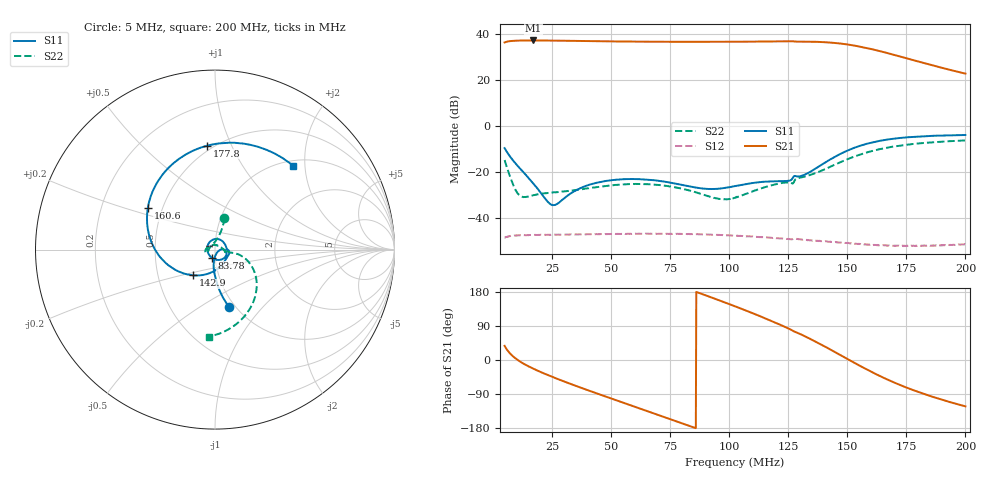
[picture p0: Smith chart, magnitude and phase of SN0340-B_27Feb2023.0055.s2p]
# Hz S DB R 50
! CMT, M5045, 22160017, 22.4.3/2
! Date: 2/27/2023 00:55:30
! Data: Format (Calibration Info)
! Freq	S11:dB/Ang(F2)	S21:dB/Ang(F2)	S12:dB/Ang(F2)	S22:dB/Ang(F2)
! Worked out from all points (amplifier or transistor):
!   1001 points, 5 MHz to 200 MHz, reference 50 ohm
!   highest |S21| = 37.2 dB at 17.09 MHz (marker M1)
!   |S21| within 3 dB of that: start of sweep to 156.9 MHz
!   unconditionally stable (mu >= 1): start of sweep to end of sweep
!   at 37.37 MHz: K = 1.76, MAG = 37.0 dB, |S12| = -47.1 dB
!   at 102.5 MHz: K = 1.92, MAG = 36.7 dB, |S12| = -47.7 dB
!   at 200 MHz: K = 6.51, MAG = 26.0 dB, |S12| = -51.5 dB
!   S11 on the Smith chart (normalised r, x): 5 MHz: 0.94, -0.68; 83.78 MHz: 0.96, -0.08; 142.9 MHz: 0.75, -0.22; 160.6 MHz: 0.41, +0.24; 177.8 MHz: 0.47, +0.81; 200 MHz: 1.10, +1.73
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5000000  -9.61 -76.0  36.34 37.3  -48.51 40.4  -14.80 73.4
7145000  -13.07 -84.2  36.89 18.3  -47.92 21.4  -21.55 73.7
9485000  -16.12 -89.2  37.09 4.9  -47.64 7.7  -27.54 91.6
1.709e7  -24.89 -95.0  37.21 -22.7  -47.38 -19.9  -30.10 161.9
2.684e7  -34.11 -27.4  37.13 -48.6  -47.26 -44.9  -28.73 -174.7
3.7565e7  -26.79 2.3  36.98 -73.8  -47.10 -68.3  -27.47 -161.5
5.297e7  -23.30 -20.0  36.77 -107.7  -46.97 -100.1  -25.57 -160.4
7.013e7  -23.82 -61.5  36.65 -144.9  -46.84 -134.2  -25.66 -178.7
8.378e7  -26.35 -113.6  36.62 -175.1  -47.03 -161.6  -28.21 151.8
9.314e7  -27.38 -167.6  36.61 163.6  -47.29 178.9  -31.12 112.9
1.025e8  -26.11 135.5  36.65 141.7  -47.68 159.3  -31.22 51.9
1.1225e8  -24.50 84.3  36.72 117.7  -48.22 136.7  -27.57 8.9
1.2083e8  -24.01 35.7  36.79 95.2  -48.87 116.0  -25.10 -9.1
1.26485e8  -23.24 0.9  36.88 78.9  -49.32 101.7  -24.87 -12.2
1.35065e8  -19.51 -79.8  36.67 53.4  -49.74 73.0  -21.04 -10.8
1.42865e8  -14.50 -130.4  36.28 27.6  -50.39 45.9  -17.70 -11.3
1.5086e8  -10.34 -170.9  35.34 -0.0  -50.96 14.8  -14.12 -19.7
1.6061e8  -7.12 148.1  33.37 -32.5  -51.69 -21.8  -10.83 -36.5
1.6763e8  -5.79 123.6  31.55 -53.3  -51.95 -44.9  -9.26 -49.5
1.7777e8  -4.72 94.3  28.69 -79.1  -52.08 -72.6  -7.83 -66.1
1.87715e8  -4.20 71.0  25.93 -100.3  -51.78 -92.9  -6.96 -79.9
2e8  -3.90 47.2  22.79 -122.4  -51.51 -112.7  -6.28 -93.8
